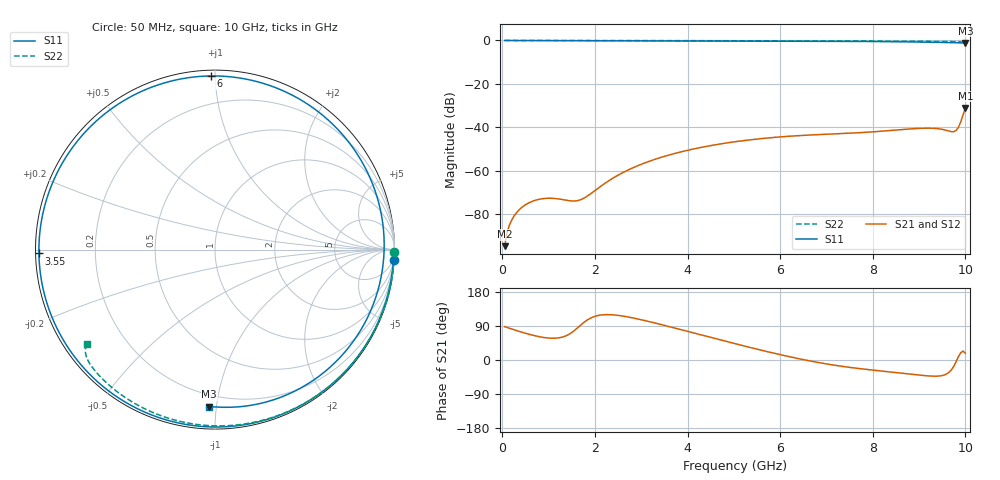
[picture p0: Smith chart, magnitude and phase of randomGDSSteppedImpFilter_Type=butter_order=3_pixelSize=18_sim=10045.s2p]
! freq	dB(S11)	phase(S11)	dB(S12)	phase(S12)
!  dB(S21)	phase(S21)	dB(S22)	phase(S22)
!S-par simulation data
#  GHz  S  DB  R 50
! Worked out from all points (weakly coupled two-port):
!   200 points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, 50 MHz to 10 GHz, reference 50 ohm
!   highest |S21| = -31.14 dB at 10 GHz (marker M1); lowest = -94.9 dB at 50 MHz (marker M2)
!   lowest |S11| = -1.2 dB at 10 GHz (marker M3), VSWR 15.10, Z = 6.36 - j47.7 ohm
!   |S11| at or under -10 dB: nowhere
!   |S22| runs from -1.1 to 0.0 dB; largest |S21 - S12| = 0
!   S11 on the Smith chart (normalised r, x): 50 MHz: 2, -36; 3.55 GHz: 0.01, -0.01; 6 GHz: 0.03, +0.97; 10 GHz: 0.13, -0.95
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0.05  -0.03 -3.2  -94.85 88.0  -94.85 88.0  -0.00 -0.8
0.3  -0.04 -19.7  -79.61 78.0  -79.61 78.0  -0.01 -4.8
0.45  -0.05 -29.4  -76.51 72.3  -76.51 72.3  -0.01 -7.2
0.9  -0.07 -57.4  -72.88 59.3  -72.88 59.3  -0.02 -14.4
1.3  -0.09 -80.3  -73.36 60.6  -73.36 60.6  -0.03 -20.7
1.55  -0.10 -93.6  -74.03 77.1  -74.03 77.1  -0.03 -24.7
1.75  -0.11 -103.7  -72.87 98.0  -72.87 98.0  -0.04 -27.8
2.55  -0.14 -139.9  -61.53 116.9  -61.53 116.9  -0.05 -40.1
3.4  -0.16 -173.2  -54.09 94.5  -54.09 94.5  -0.07 -52.9
3.55  -0.16 -178.7  -53.13 89.8  -53.13 89.8  -0.07 -55.1
4.25  -0.19 156.0  -49.50 67.5  -49.50 67.5  -0.09 -65.2
5.05  -0.23 127.2  -46.63 42.2  -46.63 42.2  -0.12 -76.4
5.55  -0.26 108.7  -45.35 27.1  -45.35 27.1  -0.14 -83.3
6  -0.28 91.5  -44.47 14.1  -44.47 14.1  -0.16 -89.3
6.7  -0.34 63.3  -43.54 -3.8  -43.54 -3.8  -0.19 -98.5
7.6  -0.43 24.6  -42.65 -21.0  -42.65 -21.0  -0.25 -110.0
8.35  -0.56 -9.6  -41.57 -31.3  -41.57 -31.3  -0.31 -119.5
9  -0.72 -40.7  -40.54 -39.9  -40.54 -39.9  -0.37 -127.7
9.4  -0.87 -60.7  -40.66 -42.5  -40.66 -42.5  -0.42 -133.0
9.75  -1.03 -79.0  -42.06 -16.3  -42.06 -16.3  -0.53 -138.4
9.85  -1.08 -84.3  -40.01 9.1  -40.01 9.1  -0.62 -140.4
10  -1.15 -92.2  -31.14 17.9  -31.14 17.9  -1.07 -143.7
